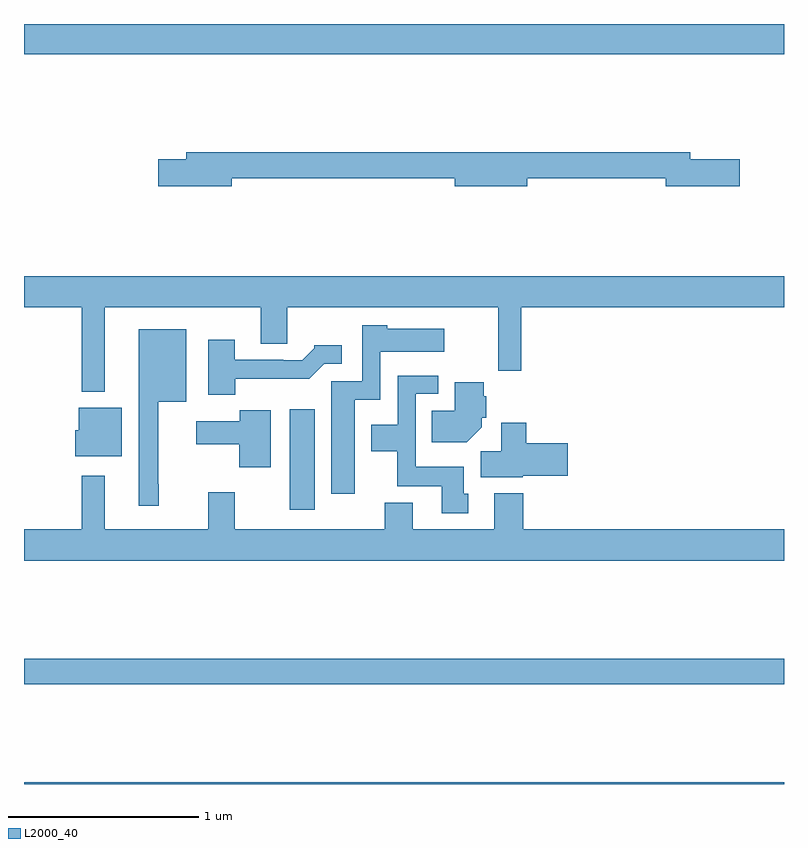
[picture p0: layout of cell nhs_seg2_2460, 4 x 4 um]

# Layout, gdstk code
import gdstk
lib = gdstk.Library(unit=1e-6, precision=1e-09)
def R(c, l, rs):  # rectangles x0, y0, x1, y1
    for r in rs: c.add(gdstk.rectangle(r[:2], r[2:], *l))
def P(c, l, *ps):  # polygons
    for p in ps: c.add(gdstk.Polygon(p, *l))
L2000_40 = (2000, 40)

nhs_seg2_2460 = lib.new_cell('nhs_seg2_2460')
R(nhs_seg2_2460, L2000_40, [(239,639.8,243,639.808), (239,640.324,243,640.46), (240.398,641.244,240.529,641.773), (239,643.64,243,643.8)])
P(nhs_seg2_2460, L2000_40, [(240.094,642.988),(241.268,642.988),(241.268,642.946),(241.648,642.946),(241.648,642.988),(242.378,642.988),(242.378,642.946),(242.767,642.946),(242.767,643.088),(242.506,643.088),(242.506,643.124),(239.855,643.124),(239.855,643.088),(239.706,643.088),(239.706,642.946),(240.094,642.946)],
  [(239.425,642.308),(240.245,642.308),(240.245,642.118),(240.385,642.118),(240.385,642.308),(241.495,642.308),(241.495,641.976),(241.616,641.976),(241.616,642.308),(243,642.308),(243,642.472),(239,642.472),(239,642.308),(239.304,642.308),(239.304,641.864),(239.425,641.864)],
  [(240.742,641.822),(240.876,641.822),(240.876,642.074),(241.213,642.074),(241.213,642.196),(240.912,642.196),(240.912,642.214),(240.78,642.214),(240.78,641.919),(240.617,641.919),(240.617,641.328),(240.742,641.328)],
  [(239.71,641.377),(239.707,641.377),(239.707,641.813),(239.854,641.813),(239.854,642.193),(239.603,642.193),(239.603,641.265),(239.71,641.265)],
  [(240.112,641.934),(240.501,641.934),(240.579,642.012),(240.673,642.012),(240.673,642.109),(240.528,642.109),(240.528,642.094),(240.464,642.03),(240.365,642.03),(240.365,642.033),(240.109,642.033),(240.109,642.139),(239.969,642.139),(239.969,641.849),(240.112,641.849)],
  [(241.339,641.328),(241.315,641.328),(241.315,641.47),(241.062,641.47),(241.062,641.853),(241.18,641.853),(241.18,641.949),(240.966,641.949),(240.966,641.692),(240.827,641.692),(240.827,641.552),(240.964,641.552),(240.964,641.366),(241.199,641.366),(241.199,641.226),(241.339,641.226)],
  [(241.408,641.678),(241.408,641.727),(241.434,641.727),(241.434,641.841),(241.421,641.841),(241.421,641.914),(241.268,641.914),(241.268,641.764),(241.147,641.764),(241.147,641.6),(241.33,641.6)],
  [(239.515,641.779),(239.288,641.779),(239.288,641.661),(239.27,641.661),(239.27,641.525),(239.515,641.525)],
  [(240.298,641.767),(240.136,641.767),(240.136,641.71),(239.907,641.71),(239.907,641.588),(240.134,641.588),(240.134,641.466),(240.298,641.466)],
  [(241.626,641.423),(241.861,641.423),(241.861,641.594),(241.643,641.594),(241.643,641.701),(241.511,641.701),(241.511,641.552),(241.403,641.552),(241.403,641.414),(241.626,641.414)],
  [(243,641.14),(241.628,641.14),(241.628,641.329),(241.475,641.329),(241.475,641.14),(241.045,641.14),(241.045,641.281),(240.898,641.281),(240.898,641.14),(240.109,641.14),(240.109,641.335),(239.969,641.335),(239.969,641.14),(239.425,641.14),(239.425,641.422),(239.304,641.422),(239.304,641.14),(239,641.14),(239,640.976),(243,640.976)])

lib.write_gds('nhs_seg2_2460.gds')
